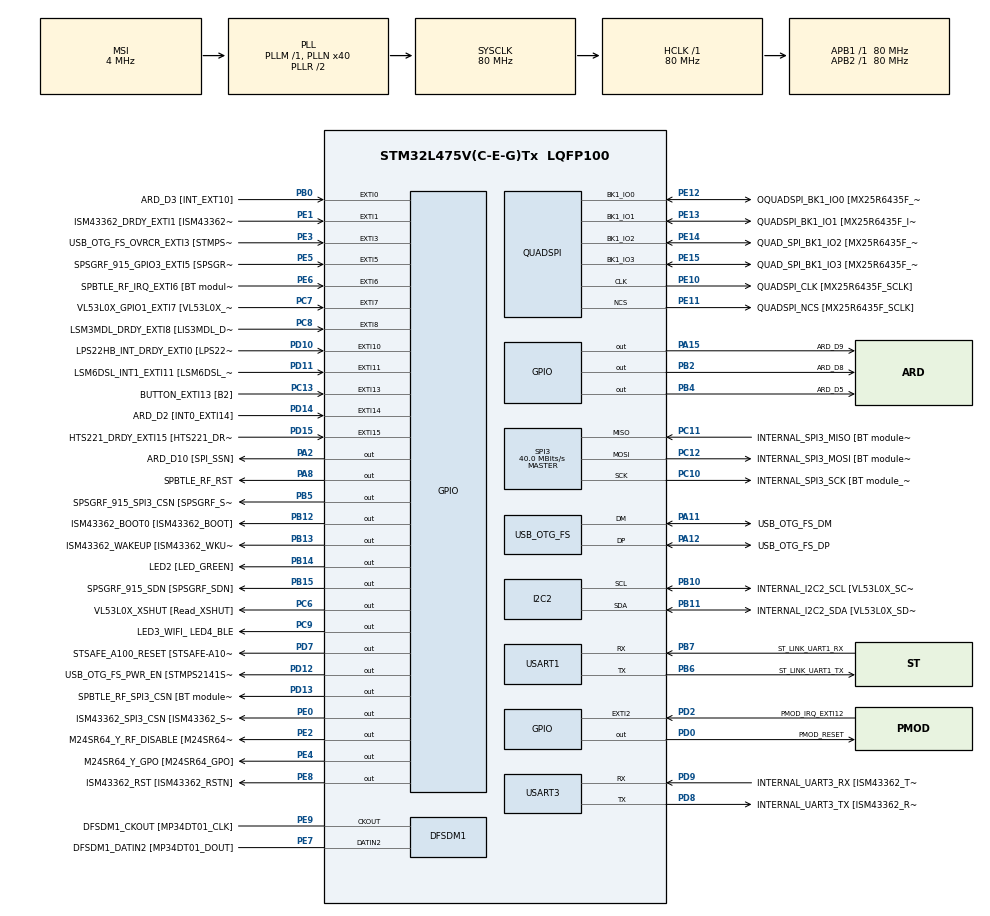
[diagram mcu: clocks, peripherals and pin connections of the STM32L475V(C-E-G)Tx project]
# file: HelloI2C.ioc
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I2C2.Timing=0x10909CEC
Mcu.Family=STM32L4
Mcu.Name=STM32L475V(C-E-G)Tx
Mcu.Package=LQFP100
NVIC.EXTI15_10_IRQn=true\:0\:0\:false\:false\:true\:true\:true\:true
NVIC.EXTI9_5_IRQn=true\:0\:0\:false\:false\:true\:true\:true\:true
NVIC.PriorityGroup=NVIC_PRIORITYGROUP_4
PA0.GPIO_Label=ARD_D1 [UART4_TX]
PA0.Signal=UART4_TX
PA1.GPIO_Label=ARD_D0 [UART4_RX]
PA1.Signal=UART4_RX
PA10.GPIO_Label=USB_OTG_FS_ID
PA10.Signal=USB_OTG_FS_ID
PA11.GPIO_Label=USB_OTG_FS_DM
PA11.Mode=Device_Only
PA11.Signal=USB_OTG_FS_DM
PA12.GPIO_Label=USB_OTG_FS_DP
PA12.Mode=Device_Only
PA12.Signal=USB_OTG_FS_DP
PA13\ (JTMS-SWDIO).GPIO_Label=SYS_JTMS_SWDIO
PA13\ (JTMS-SWDIO).Mode=Serial_Wire
PA13\ (JTMS-SWDIO).Signal=SYS_JTMS-SWDIO
PA14\ (JTCK-SWCLK).GPIO_Label=SYS_JTCK_SWCLK
PA14\ (JTCK-SWCLK).Mode=Serial_Wire
PA14\ (JTCK-SWCLK).Signal=SYS_JTCK-SWCLK
PA15\ (JTDI).GPIO_Label=ARD_D9
PA15\ (JTDI).Signal=GPIO_Output
PA2.GPIO_Label=ARD_D10 [SPI_SSN]
PA2.Signal=GPIO_Output
PA3.GPIO_Label=ARD_D4
PA3.Signal=S_TIM2_CH4
PA4.GPIO_Label=ARD_D7
PA4.Signal=ADCx_IN9
PA5.GPIO_Label=ARD_D13 [SPI1_SCK]
PA5.Signal=SPI1_SCK
PA6.GPIO_Label=ARD_D12 [SPI1_MISO]
PA6.Signal=SPI1_MISO
PA7.GPIO_Label=ARD_D11 [SPI1_MOSI]
PA7.Signal=SPI1_MOSI
PA8.GPIO_Label=SPBTLE_RF_RST
PA8.Signal=GPIO_Output
PA9.GPIO_Label=USB_OTG_FS_VBUS [STMPS2141STR_OUT]
PA9.Signal=USB_OTG_FS_VBUS
PB0.GPIO_Label=ARD_D3 [INT_EXT10]
PB0.Signal=GPXTI0
PB1.GPIO_Label=ARD_D6 [ADC1_IN6]
PB1.Signal=ADCx_IN16
PB10.GPIO_Label=INTERNAL_I2C2_SCL [VL53L0X_SCL]
PB10.GPIO_Pu=GPIO_PULLUP
PB10.Mode=I2C
PB10.Signal=I2C2_SCL
PB11.GPIO_Label=INTERNAL_I2C2_SDA [VL53L0X_SDA]
PB11.GPIO_Pu=GPIO_PULLUP
PB11.Mode=I2C
PB11.Signal=I2C2_SDA
PB12.GPIO_Label=ISM43362_BOOT0 [ISM43362_BOOT]
PB12.Signal=GPIO_Output
PB13.GPIO_Label=ISM43362_WAKEUP [ISM43362_WKUP]
PB13.Signal=GPIO_Output
PB14.GPIO_Label=LED2 [LED_GREEN]
PB14.Signal=GPIO_Output
PB15.GPIO_Label=SPSGRF_915_SDN [SPSGRF_SDN]
PB15.Signal=GPIO_Output
PB2.GPIO_Label=ARD_D8
PB2.Signal=GPIO_Output
PB3\ (JTDO-TRACESWO).GPIO_Label=SYS_JTD0_SWO
PB3\ (JTDO-TRACESWO).Signal=SYS_JTDO-SWO
PB4\ (NJTRST).GPIO_Label=ARD_D5
PB4\ (NJTRST).Signal=GPIO_Output
PB5.GPIO_Label=SPSGRF_915_SPI3_CSN [SPSGRF_SPI_CS]
PB5.PinState=GPIO_PIN_SET
PB5.Signal=GPIO_Output
PB6.GPIO_Label=ST_LINK_UART1_TX
PB6.Mode=Asynchronous
PB6.Signal=USART1_TX
PB7.GPIO_Label=ST_LINK_UART1_RX
PB7.Mode=Asynchronous
PB7.Signal=USART1_RX
PB8.GPIO_Label=ARD_D15 [I2C1_SCL]
PB8.Signal=I2C1_SCL
PB9.GPIO_Label=ARD_D14 [I2C1_SDA]
PB9.Signal=I2C1_SDA
PC0.GPIO_Label=ARD_A5 [ADC]
PC0.Signal=ADCx_IN1
PC1.GPIO_Label=ARD_A4 [ADC]
PC1.Signal=ADCx_IN2
PC10.GPIO_Label=INTERNAL_SPI3_SCK [BT module_SPI_SCLK] [ISM43362_SCK]
PC10.Mode=Full_Duplex_Master
PC10.Signal=SPI3_SCK
PC11.GPIO_Label=INTERNAL_SPI3_MISO [BT module_SPI_MISO] [ISM43362_MISO]
PC11.Mode=Full_Duplex_Master
PC11.Signal=SPI3_MISO
PC12.GPIO_Label=INTERNAL_SPI3_MOSI [BT module_SPI_MOSI] [ISM43362_MOSI]
PC12.Mode=Full_Duplex_Master
PC12.Signal=SPI3_MOSI
PC13.GPIO_Label=BUTTON_EXTI13 [B2]
PC13.GPIO_ModeDefaultEXTI=GPIO_MODE_IT_FALLING
PC13.Signal=GPXTI13
PC14-OSC32_IN\ (PC14).Mode=LSE-External-Oscillator
PC14-OSC32_IN\ (PC14).Signal=RCC_OSC32_IN
PC15-OSC32_OUT\ (PC15).Mode=LSE-External-Oscillator
PC15-OSC32_OUT\ (PC15).Signal=RCC_OSC32_OUT
PC2.GPIO_Label=ARD_A3 [ADC]
PC2.Signal=ADCx_IN3
PC3.GPIO_Label=ARD_A2 [ADC]
PC3.Signal=ADCx_IN4
PC4.GPIO_Label=ARD_A1 [ADC]
PC4.Signal=ADCx_IN13
PC5.GPIO_Label=ARD_A0 [ADC]
PC5.Signal=ADCx_IN14
PC6.GPIO_Label=VL53L0X_XSHUT [Read_XSHUT]
PC6.Signal=GPIO_Output
PC7.GPIO_Label=VL53L0X_GPIO1_EXTI7 [VL53L0X_GPIO1]
PC7.Signal=GPXTI7
PC8.GPIO_Label=LSM3MDL_DRDY_EXTI8 [LIS3MDL_DRDY]
PC8.Signal=GPXTI8
PC9.GPIO_Label=LED3_WIFI_ LED4_BLE
PC9.Signal=GPIO_Output
PD0.GPIO_Label=PMOD_RESET
PD0.Signal=GPIO_Output
PD1.GPIO_Label=PMOD_SPI2_SCK
PD1.Signal=SPI2_SCK
PD10.GPIO_Label=LPS22HB_INT_DRDY_EXTI0 [LPS22HB_INT_DRDY] 
PD10.Signal=GPXTI10
PD11.GPIO_Label=LSM6DSL_INT1_EXTI11 [LSM6DSL_INT1]
PD11.Signal=GPXTI11
PD12.GPIO_Label=USB_OTG_FS_PWR_EN [STMPS2141STR_EN]
PD12.Signal=GPIO_Output
PD13.GPIO_Label=SPBTLE_RF_SPI3_CSN [BT module_SPI_CS]
PD13.PinState=GPIO_PIN_SET
PD13.Signal=GPIO_Output
PD14.GPIO_Label=ARD_D2 [INT0_EXTI14]
PD14.Signal=GPXTI14
PD15.GPIO_Label=HTS221_DRDY_EXTI15 [HTS221_DRDY]
PD15.Signal=GPXTI15
PD2.GPIO_Label=PMOD_IRQ_EXTI12
PD2.Signal=GPXTI2
PD3.GPIO_Label=PMOD_UART2_CTS
PD3.Signal=USART2_CTS
PD4.GPIO_Label=PMOD_UART2_RTS
PD4.Signal=USART2_RTS
PD5.GPIO_Label=PMOD_UART2_TX
PD5.Signal=USART2_TX
PD6.GPIO_Label=PMOD_UART2_RX
PD6.Signal=USART2_RX
PD7.GPIO_Label=STSAFE_A100_RESET [STSAFE-A100_RESET]
PD7.Signal=GPIO_Output
PD8.GPIO_Label=INTERNAL_UART3_TX [ISM43362_RX]
PD8.Mode=Asynchronous
PD8.Signal=USART3_TX
PD9.GPIO_Label=INTERNAL_UART3_RX [ISM43362_TX]
PD9.Mode=Asynchronous
PD9.Signal=USART3_RX
PE0.GPIO_Label=ISM43362_SPI3_CSN [ISM43362_SSN]
PE0.PinState=GPIO_PIN_SET
PE0.Signal=GPIO_Output
PE1.GPIO_Label=ISM43362_DRDY_EXTI1 [ISM43362_DATARDY]
PE1.Signal=GPXTI1
PE10.GPIO_Label=QUADSPI_CLK [MX25R6435F_SCLK]
PE10.Mode=Single Bank
PE10.Signal=QUADSPI_CLK
PE11.GPIO_Label=QUADSPI_NCS [MX25R6435F_SCLK]
PE11.Mode=Single Bank
PE11.Signal=QUADSPI_NCS
PE12.GPIO_Label=OQUADSPI_BK1_IO0 [MX25R6435F_IO0]
PE12.Mode=Single Bank
PE12.Signal=QUADSPI_BK1_IO0
PE13.GPIO_Label=QUADSPI_BK1_IO1 [MX25R6435F_IO1]
PE13.Mode=Single Bank
PE13.Signal=QUADSPI_BK1_IO1
PE14.GPIO_Label=QUAD_SPI_BK1_IO2 [MX25R6435F_IO2]
PE14.Mode=Single Bank
PE14.Signal=QUADSPI_BK1_IO2
PE15.GPIO_Label=QUAD_SPI_BK1_IO3 [MX25R6435F_IO3]
PE15.Mode=Single Bank
PE15.Signal=QUADSPI_BK1_IO3
PE2.GPIO_Label=M24SR64_Y_RF_DISABLE [M24SR64_RFDIS]
PE2.Signal=GPIO_Output
PE3.GPIO_Label=USB_OTG_FS_OVRCR_EXTI3 [STMPS2141STR_FAULT]
PE3.Signal=GPXTI3
PE4.GPIO_Label=M24SR64_Y_GPO [M24SR64_GPO]
PE4.Signal=GPIO_Output
PE5.GPIO_Label=SPSGRF_915_GPIO3_EXTI5 [SPSGRF_GPIO_3]
PE5.Signal=GPXTI5
PE6.GPIO_Label=SPBTLE_RF_IRQ_EXTI6 [BT module_SPI_IRQ]
PE6.Signal=GPXTI6
PE7.GPIO_Label=DFSDM1_DATIN2 [MP34DT01_DOUT]
PE7.Signal=S_DATAIN2DFSDM1
PE8.GPIO_Label=ISM43362_RST [ISM43362_RSTN]
PE8.Signal=GPIO_Output
PE9.GPIO_Label=DFSDM1_CKOUT [MP34DT01_CLK]
PE9.Signal=S_CKOUTDFSDM1
ProjectManager.HeapSize=0x200
ProjectManager.StackSize=0x400
ProjectManager.TargetToolchain=STM32CubeIDE
QUADSPI.ClockPrescaler=2
QUADSPI.FifoThreshold=4
QUADSPI.FlashSize=23
QUADSPI.SampleShifting=QSPI_SAMPLE_SHIFTING_HALFCYCLE
RCC.ADCFreq_Value=48000000
RCC.AHBFreq_Value=80000000
RCC.APB1Freq_Value=80000000
RCC.APB1TimFreq_Value=80000000
RCC.APB2Freq_Value=80000000
RCC.APB2TimFreq_Value=80000000
RCC.CortexFreq_Value=80000000
RCC.HCLKFreq_Value=80000000
RCC.HSE_VALUE=8000000
RCC.HSI_VALUE=16000000
RCC.MSI_VALUE=4000000
RCC.PLLN=40
RCC.PLLSAI1N=24
RCC.SYSCLKFreq_VALUE=80000000
RCC.SYSCLKSource=RCC_SYSCLKSOURCE_PLLCLK
RCC.USBFreq_Value=48000000
RCC.VCOOutputFreq_Value=160000000
SH.ADCx_IN1.0=ADC1_IN1
SH.ADCx_IN13.0=ADC1_IN13
SH.ADCx_IN14.0=ADC1_IN14
SH.ADCx_IN16.0=ADC1_IN16
SH.ADCx_IN2.0=ADC1_IN2
SH.ADCx_IN3.0=ADC1_IN3
SH.ADCx_IN4.0=ADC1_IN4
SH.ADCx_IN9.0=ADC1_IN9
SH.S_CKOUTDFSDM1.0=DFSDM1_CKOUT,CKOUT
SH.S_CKOUTDFSDM1.1=DFSDM1_CKOUT,PDM_SPI_Input_from_ch12_and_Internal_Clock
SH.S_DATAIN2DFSDM1.0=DFSDM1_DATIN2,PDM_SPI_Input_from_ch12_and_Internal_Clock
SH.S_TIM2_CH4.0=TIM2_CH4
SPI3.CalculateBaudRate=40.0 MBits/s
SPI3.Direction=SPI_DIRECTION_2LINES
SPI3.Mode=SPI_MODE_MASTER
SPI3.VirtualType=VM_MASTER
USART1.VirtualMode-Asynchronous=VM_ASYNC
USART3.VirtualMode-Asynchronous=VM_ASYNC
USB_OTG_FS.VirtualMode=Device_Only
board=B-L475E-IOT01A1

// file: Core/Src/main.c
/* USER CODE BEGIN Header */
/**
  ******************************************************************************
  * @file           : main.c
  * @brief          : Main program body
  ******************************************************************************
  * @attention
  *
  * Copyright (c) 2023 STMicroelectronics.
  * All rights reserved.
  *
  * This software is licensed under terms that can be found in the LICENSE file
  * in the root directory of this software component.
  * If no LICENSE file comes with this software, it is provided AS-IS.
  *
  ******************************************************************************
  */
/* USER CODE END Header */
#include "main.h"

/* USER CODE BEGIN Includes */
#include "stm32l475e_iot01_hsensor.h"
#include "stm32l475e_iot01_tsensor.h"
#include "lis3mdl.h"
#include "magneto.h"
#include "stm32l4xx_hal_i2c.h"
/* USER CODE END Includes */

DFSDM_Channel_HandleTypeDef hdfsdm1_channel1;

I2C_HandleTypeDef hi2c2;

QSPI_HandleTypeDef hqspi;

SPI_HandleTypeDef hspi3;

UART_HandleTypeDef huart1;
UART_HandleTypeDef huart3;

PCD_HandleTypeDef hpcd_USB_OTG_FS;

/* USER CODE BEGIN PV */
int __io_putchar(int ch) {
	HAL_UART_Transmit(&huart1, (uint8_t *)&ch, 1, 1000);
	return 1;
}

/* USER CODE END PV */

void SystemClock_Config(void);
static void MX_GPIO_Init(void);
static void MX_DFSDM1_Init(void);
static void MX_I2C2_Init(void);
static void MX_QUADSPI_Init(void);
static void MX_SPI3_Init(void);
static void MX_USART1_UART_Init(void);
static void MX_USART3_UART_Init(void);
static void MX_USB_OTG_FS_PCD_Init(void);

int main(void)
{

  /* MCU Configuration--------------------------------------------------------*/

  /* Reset of all peripherals, Initializes the Flash interface and the Systick. */
  HAL_Init();

  /* Configure the system clock */
  SystemClock_Config();

  /* Initialize all configured peripherals */
  MX_GPIO_Init();
  MX_DFSDM1_Init();
  MX_I2C2_Init();
  MX_QUADSPI_Init();
  MX_SPI3_Init();
  MX_USART1_UART_Init();
  MX_USART3_UART_Init();
  MX_USB_OTG_FS_PCD_Init();
  /* USER CODE BEGIN 2 */

  //1. initialize the magnetometer
  MAGNETO_DrvTypeDef  *MagnetoDrv;
  MAGNETO_InitTypeDef LIS3MDL_InitStructureMag;
  if(Lis3mdlMagDrv.ReadID() != I_AM_LIS3MDL)
  {
	//my way of throwing an "error"
    return -1;
  }
  else
  {
    /* Initialize the MAGNETO magnetometer driver structure */
    MagnetoDrv = &Lis3mdlMagDrv;

    /* MEMS configuration ------------------------------------------------------*/
    /* Fill the MAGNETO magnetometer structure */
    LIS3MDL_InitStructureMag.Register1 = LIS3MDL_MAG_TEMPSENSOR_DISABLE | LIS3MDL_MAG_OM_XY_HIGH | LIS3MDL_MAG_ODR_40_HZ;
    LIS3MDL_InitStructureMag.Register2 = LIS3MDL_MAG_FS_4_GA | LIS3MDL_MAG_REBOOT_DEFAULT | LIS3MDL_MAG_SOFT_RESET_DEFAULT;
    LIS3MDL_InitStructureMag.Register3 = LIS3MDL_MAG_CONFIG_NORMAL_MODE | LIS3MDL_MAG_CONTINUOUS_MODE;
    LIS3MDL_InitStructureMag.Register4 = LIS3MDL_MAG_OM_Z_HIGH | LIS3MDL_MAG_BLE_LSB;
    LIS3MDL_InitStructureMag.Register5 = LIS3MDL_MAG_BDU_MSBLSB;
    /* Configure the MAGNETO magnetometer main parameters */
    MagnetoDrv->Init(LIS3MDL_InitStructureMag);
  }

  /* USER CODE END 2 */

  /* Infinite loop */
  /* USER CODE BEGIN WHILE */
  while (1)
  {
	  //2. Read magnetometer data
	  //final data to be stored here
	  int16_t pData[3];

	  //vars and array to hold data relevant to mag calculations
	  int16_t pnRawData[3];
	  uint8_t ctrlm= 0;
	  uint8_t buffer[6];
	  uint8_t i = 0;
	  float sensitivity = 0;

	  //read the control register content directly
	  uint8_t read_value = 0;
	  HAL_StatusTypeDef status = HAL_I2C_Mem_Read(
			  &hi2c2,
			  LIS3MDL_MAG_I2C_ADDRESS_HIGH,
			  (uint16_t)LIS3MDL_MAG_CTRL_REG2,
			  //size of internal mem address aka 8 bits
			  I2C_MEMADD_SIZE_8BIT,
			  //the "buffer"
			  (uint8_t*)&read_value,
			  //reading only one bit of value from Control Register
			  1, 1000);
	  if (status != HAL_OK) {
		  return -1;
	  }

	  ctrlm = read_value;

	  //read output reg XYZ acceleration
	  status = HAL_I2C_Mem_Read(&hi2c2,
			  LIS3MDL_MAG_I2C_ADDRESS_HIGH,
			  //set MSB 8th bit to 1 to indicate subsequent reading about to happen
			  (uint16_t)(LIS3MDL_MAG_OUTX_L | 0x80),
			  I2C_MEMADD_SIZE_8BIT,
			  buffer,
			  6, 1000);
	 if (status != HAL_OK) {
		 return -1;
	 }
	 //buffer shall be changed by this point
	  for(i=0; i<3; i++)
	  {
	    pnRawData[i]=((((uint16_t)buffer[2*i+1]) << 8) + (uint16_t)buffer[2*i]);
	  }

	  /* Normal mode */
	  /* Switch the sensitivity value set in the CRTL_REG2 */
	  switch(ctrlm & 0x60)
	  {
	  case LIS3MDL_MAG_FS_4_GA:
	    sensitivity = LIS3MDL_MAG_SENSITIVITY_FOR_FS_4GA;
	    break;
	  case LIS3MDL_MAG_FS_8_GA:
	    sensitivity = LIS3MDL_MAG_SENSITIVITY_FOR_FS_8GA;
	    break;
	  case LIS3MDL_MAG_FS_12_GA:
	    sensitivity = LIS3MDL_MAG_SENSITIVITY_FOR_FS_12GA;
	    break;
	  case LIS3MDL_MAG_FS_16_GA:
	    sensitivity = LIS3MDL_MAG_SENSITIVITY_FOR_FS_16GA;
	    break;
	  }

	  /* Obtain the mGauss value for the three axis */
	  for(i=0; i<3; i++)
	  {
	    pData[i]=( int16_t )(pnRawData[i] * sensitivity);
	  }

	  //3. now print the result using printf
	  printf("X: %d, Y: %d, Z: %d\n", pData[0], pData[1], pData[2]);

	  HAL_Delay(1000);
    /* USER CODE END WHILE */

  }
}

void SystemClock_Config(void)
{
  RCC_OscInitTypeDef RCC_OscInitStruct = {0};
  RCC_ClkInitTypeDef RCC_ClkInitStruct = {0};

  /** Configure the main internal regulator output voltage
  */
  if (HAL_PWREx_ControlVoltageScaling(PWR_REGULATOR_VOLTAGE_SCALE1) != HAL_OK)
  {
    Error_Handler();
  }

  /** Configure LSE Drive Capability
  */
  HAL_PWR_EnableBkUpAccess();
  __HAL_RCC_LSEDRIVE_CONFIG(RCC_LSEDRIVE_LOW);

  /** Initializes the RCC Oscillators according to the specified parameters
  * in the RCC_OscInitTypeDef structure.
  */
  RCC_OscInitStruct.OscillatorType = RCC_OSCILLATORTYPE_LSE|RCC_OSCILLATORTYPE_MSI;
  RCC_OscInitStruct.LSEState = RCC_LSE_ON;
  RCC_OscInitStruct.MSIState = RCC_MSI_ON;
  RCC_OscInitStruct.MSICalibrationValue = 0;
  RCC_OscInitStruct.MSIClockRange = RCC_MSIRANGE_6;
  RCC_OscInitStruct.PLL.PLLState = RCC_PLL_ON;
  RCC_OscInitStruct.PLL.PLLSource = RCC_PLLSOURCE_MSI;
  RCC_OscInitStruct.PLL.PLLM = 1;
  RCC_OscInitStruct.PLL.PLLN = 40;
  RCC_OscInitStruct.PLL.PLLP = RCC_PLLP_DIV7;
  RCC_OscInitStruct.PLL.PLLQ = RCC_PLLQ_DIV2;
  RCC_OscInitStruct.PLL.PLLR = RCC_PLLR_DIV2;
  if (HAL_RCC_OscConfig(&RCC_OscInitStruct) != HAL_OK)
  {
    Error_Handler();
  }

  /** Initializes the CPU, AHB and APB buses clocks
  */
  RCC_ClkInitStruct.ClockType = RCC_CLOCKTYPE_HCLK|RCC_CLOCKTYPE_SYSCLK
                              |RCC_CLOCKTYPE_PCLK1|RCC_CLOCKTYPE_PCLK2;
  RCC_ClkInitStruct.SYSCLKSource = RCC_SYSCLKSOURCE_PLLCLK;
  RCC_ClkInitStruct.AHBCLKDivider = RCC_SYSCLK_DIV1;
  RCC_ClkInitStruct.APB1CLKDivider = RCC_HCLK_DIV1;
  RCC_ClkInitStruct.APB2CLKDivider = RCC_HCLK_DIV1;

  if (HAL_RCC_ClockConfig(&RCC_ClkInitStruct, FLASH_LATENCY_4) != HAL_OK)
  {
    Error_Handler();
  }

  /** Enable MSI Auto calibration
  */
  HAL_RCCEx_EnableMSIPLLMode();
}

static void MX_DFSDM1_Init(void)
{

  hdfsdm1_channel1.Instance = DFSDM1_Channel1;
  hdfsdm1_channel1.Init.OutputClock.Activation = ENABLE;
  hdfsdm1_channel1.Init.OutputClock.Selection = DFSDM_CHANNEL_OUTPUT_CLOCK_SYSTEM;
  hdfsdm1_channel1.Init.OutputClock.Divider = 2;
  hdfsdm1_channel1.Init.Input.Multiplexer = DFSDM_CHANNEL_EXTERNAL_INPUTS;
  hdfsdm1_channel1.Init.Input.DataPacking = DFSDM_CHANNEL_STANDARD_MODE;
  hdfsdm1_channel1.Init.Input.Pins = DFSDM_CHANNEL_FOLLOWING_CHANNEL_PINS;
  hdfsdm1_channel1.Init.SerialInterface.Type = DFSDM_CHANNEL_SPI_RISING;
  hdfsdm1_channel1.Init.SerialInterface.SpiClock = DFSDM_CHANNEL_SPI_CLOCK_INTERNAL;
  hdfsdm1_channel1.Init.Awd.FilterOrder = DFSDM_CHANNEL_FASTSINC_ORDER;
  hdfsdm1_channel1.Init.Awd.Oversampling = 1;
  hdfsdm1_channel1.Init.Offset = 0;
  hdfsdm1_channel1.Init.RightBitShift = 0x00;
  if (HAL_DFSDM_ChannelInit(&hdfsdm1_channel1) != HAL_OK)
  {
    Error_Handler();
  }

}

static void MX_I2C2_Init(void)
{

  hi2c2.Instance = I2C2;
  hi2c2.Init.Timing = 0x10909CEC;
  hi2c2.Init.OwnAddress1 = 0;
  hi2c2.Init.AddressingMode = I2C_ADDRESSINGMODE_7BIT;
  hi2c2.Init.DualAddressMode = I2C_DUALADDRESS_DISABLE;
  hi2c2.Init.OwnAddress2 = 0;
  hi2c2.Init.OwnAddress2Masks = I2C_OA2_NOMASK;
  hi2c2.Init.GeneralCallMode = I2C_GENERALCALL_DISABLE;
  hi2c2.Init.NoStretchMode = I2C_NOSTRETCH_DISABLE;
  if (HAL_I2C_Init(&hi2c2) != HAL_OK)
  {
    Error_Handler();
  }

  /** Configure Analogue filter
  */
  if (HAL_I2CEx_ConfigAnalogFilter(&hi2c2, I2C_ANALOGFILTER_ENABLE) != HAL_OK)
  {
    Error_Handler();
  }

  /** Configure Digital filter
  */
  if (HAL_I2CEx_ConfigDigitalFilter(&hi2c2, 0) != HAL_OK)
  {
    Error_Handler();
  }

}

static void MX_QUADSPI_Init(void)
{

  /* QUADSPI parameter configuration*/
  hqspi.Instance = QUADSPI;
  hqspi.Init.ClockPrescaler = 2;
  hqspi.Init.FifoThreshold = 4;
  hqspi.Init.SampleShifting = QSPI_SAMPLE_SHIFTING_HALFCYCLE;
  hqspi.Init.FlashSize = 23;
  hqspi.Init.ChipSelectHighTime = QSPI_CS_HIGH_TIME_1_CYCLE;
  hqspi.Init.ClockMode = QSPI_CLOCK_MODE_0;
  if (HAL_QSPI_Init(&hqspi) != HAL_OK)
  {
    Error_Handler();
  }

}

static void MX_SPI3_Init(void)
{

  /* SPI3 parameter configuration*/
  hspi3.Instance = SPI3;
  hspi3.Init.Mode = SPI_MODE_MASTER;
  hspi3.Init.Direction = SPI_DIRECTION_2LINES;
  hspi3.Init.DataSize = SPI_DATASIZE_4BIT;
  hspi3.Init.CLKPolarity = SPI_POLARITY_LOW;
  hspi3.Init.CLKPhase = SPI_PHASE_1EDGE;
  hspi3.Init.NSS = SPI_NSS_SOFT;
  hspi3.Init.BaudRatePrescaler = SPI_BAUDRATEPRESCALER_2;
  hspi3.Init.FirstBit = SPI_FIRSTBIT_MSB;
  hspi3.Init.TIMode = SPI_TIMODE_DISABLE;
  hspi3.Init.CRCCalculation = SPI_CRCCALCULATION_DISABLE;
  hspi3.Init.CRCPolynomial = 7;
  hspi3.Init.CRCLength = SPI_CRC_LENGTH_DATASIZE;
  hspi3.Init.NSSPMode = SPI_NSS_PULSE_ENABLE;
  if (HAL_SPI_Init(&hspi3) != HAL_OK)
  {
    Error_Handler();
  }

}

static void MX_USART1_UART_Init(void)
{

  huart1.Instance = USART1;
  huart1.Init.BaudRate = 115200;
  huart1.Init.WordLength = UART_WORDLENGTH_8B;
  huart1.Init.StopBits = UART_STOPBITS_1;
  huart1.Init.Parity = UART_PARITY_NONE;
  huart1.Init.Mode = UART_MODE_TX_RX;
  huart1.Init.HwFlowCtl = UART_HWCONTROL_NONE;
  huart1.Init.OverSampling = UART_OVERSAMPLING_16;
  huart1.Init.OneBitSampling = UART_ONE_BIT_SAMPLE_DISABLE;
  huart1.AdvancedInit.AdvFeatureInit = UART_ADVFEATURE_NO_INIT;
  if (HAL_UART_Init(&huart1) != HAL_OK)
  {
    Error_Handler();
  }

}

static void MX_USART3_UART_Init(void)
{

  huart3.Instance = USART3;
  huart3.Init.BaudRate = 115200;
  huart3.Init.WordLength = UART_WORDLENGTH_8B;
  huart3.Init.StopBits = UART_STOPBITS_1;
  huart3.Init.Parity = UART_PARITY_NONE;
  huart3.Init.Mode = UART_MODE_TX_RX;
  huart3.Init.HwFlowCtl = UART_HWCONTROL_NONE;
  huart3.Init.OverSampling = UART_OVERSAMPLING_16;
  huart3.Init.OneBitSampling = UART_ONE_BIT_SAMPLE_DISABLE;
  huart3.AdvancedInit.AdvFeatureInit = UART_ADVFEATURE_NO_INIT;
  if (HAL_UART_Init(&huart3) != HAL_OK)
  {
    Error_Handler();
  }

}

static void MX_USB_OTG_FS_PCD_Init(void)
{

  hpcd_USB_OTG_FS.Instance = USB_OTG_FS;
  hpcd_USB_OTG_FS.Init.dev_endpoints = 6;
  hpcd_USB_OTG_FS.Init.speed = PCD_SPEED_FULL;
  hpcd_USB_OTG_FS.Init.phy_itface = PCD_PHY_EMBEDDED;
  hpcd_USB_OTG_FS.Init.Sof_enable = DISABLE;
  hpcd_USB_OTG_FS.Init.low_power_enable = DISABLE;
  hpcd_USB_OTG_FS.Init.lpm_enable = DISABLE;
  hpcd_USB_OTG_FS.Init.battery_charging_enable = DISABLE;
  hpcd_USB_OTG_FS.Init.use_dedicated_ep1 = DISABLE;
  hpcd_USB_OTG_FS.Init.vbus_sensing_enable = DISABLE;
  if (HAL_PCD_Init(&hpcd_USB_OTG_FS) != HAL_OK)
  {
    Error_Handler();
  }

}

static void MX_GPIO_Init(void)
{
  GPIO_InitTypeDef GPIO_InitStruct = {0};

  /* GPIO Ports Clock Enable */
  __HAL_RCC_GPIOE_CLK_ENABLE();
  __HAL_RCC_GPIOC_CLK_ENABLE();
  __HAL_RCC_GPIOA_CLK_ENABLE();
  __HAL_RCC_GPIOB_CLK_ENABLE();
  __HAL_RCC_GPIOD_CLK_ENABLE();

  /*Configure GPIO pin Output Level */
  HAL_GPIO_WritePin(GPIOE, M24SR64_Y_RF_DISABLE_Pin|M24SR64_Y_GPO_Pin|ISM43362_RST_Pin, GPIO_PIN_RESET);

  /*Configure GPIO pin Output Level */
  HAL_GPIO_WritePin(GPIOA, ARD_D10_Pin|SPBTLE_RF_RST_Pin|ARD_D9_Pin, GPIO_PIN_RESET);

  /*Configure GPIO pin Output Level */
  HAL_GPIO_WritePin(GPIOB, ARD_D8_Pin|ISM43362_BOOT0_Pin|ISM43362_WAKEUP_Pin|LED2_Pin
                          |SPSGRF_915_SDN_Pin|ARD_D5_Pin, GPIO_PIN_RESET);

  /*Configure GPIO pin Output Level */
  HAL_GPIO_WritePin(GPIOD, USB_OTG_FS_PWR_EN_Pin|PMOD_RESET_Pin|STSAFE_A100_RESET_Pin, GPIO_PIN_RESET);

  /*Configure GPIO pin Output Level */
  HAL_GPIO_WritePin(SPBTLE_RF_SPI3_CSN_GPIO_Port, SPBTLE_RF_SPI3_CSN_Pin, GPIO_PIN_SET);

  /*Configure GPIO pin Output Level */
  HAL_GPIO_WritePin(GPIOC, VL53L0X_XSHUT_Pin|LED3_WIFI__LED4_BLE_Pin, GPIO_PIN_RESET);

  /*Configure GPIO pin Output Level */
  HAL_GPIO_WritePin(SPSGRF_915_SPI3_CSN_GPIO_Port, SPSGRF_915_SPI3_CSN_Pin, GPIO_PIN_SET);

  /*Configure GPIO pin Output Level */
  HAL_GPIO_WritePin(ISM43362_SPI3_CSN_GPIO_Port, ISM43362_SPI3_CSN_Pin, GPIO_PIN_SET);

  /*Configure GPIO pins : M24SR64_Y_RF_DISABLE_Pin M24SR64_Y_GPO_Pin ISM43362_RST_Pin ISM43362_SPI3_CSN_Pin */
  GPIO_InitStruct.Pin = M24SR64_Y_RF_DISABLE_Pin|M24SR64_Y_GPO_Pin|ISM43362_RST_Pin|ISM43362_SPI3_CSN_Pin;
  GPIO_InitStruct.Mode = GPIO_MODE_OUTPUT_PP;
  GPIO_InitStruct.Pull = GPIO_NOPULL;
  GPIO_InitStruct.Speed = GPIO_SPEED_FREQ_LOW;
  HAL_GPIO_Init(GPIOE, &GPIO_InitStruct);

  /*Configure GPIO pins : USB_OTG_FS_OVRCR_EXTI3_Pin SPSGRF_915_GPIO3_EXTI5_Pin SPBTLE_RF_IRQ_EXTI6_Pin ISM43362_DRDY_EXTI1_Pin */
  GPIO_InitStruct.Pin = USB_OTG_FS_OVRCR_EXTI3_Pin|SPSGRF_915_GPIO3_EXTI5_Pin|SPBTLE_RF_IRQ_EXTI6_Pin|ISM43362_DRDY_EXTI1_Pin;
  GPIO_InitStruct.Mode = GPIO_MODE_IT_RISING;
  GPIO_InitStruct.Pull = GPIO_NOPULL;
  HAL_GPIO_Init(GPIOE, &GPIO_InitStruct);

  /*Configure GPIO pin : BUTTON_EXTI13_Pin */
  GPIO_InitStruct.Pin = BUTTON_EXTI13_Pin;
  GPIO_InitStruct.Mode = GPIO_MODE_IT_FALLING;
  GPIO_InitStruct.Pull = GPIO_NOPULL;
  HAL_GPIO_Init(BUTTON_EXTI13_GPIO_Port, &GPIO_InitStruct);

  /*Configure GPIO pins : ARD_A5_Pin ARD_A4_Pin ARD_A3_Pin ARD_A2_Pin
                           ARD_A1_Pin ARD_A0_Pin */
  GPIO_InitStruct.Pin = ARD_A5_Pin|ARD_A4_Pin|ARD_A3_Pin|ARD_A2_Pin
                          |ARD_A1_Pin|ARD_A0_Pin;
  GPIO_InitStruct.Mode = GPIO_MODE_ANALOG_ADC_CONTROL;
  GPIO_InitStruct.Pull = GPIO_NOPULL;
  HAL_GPIO_Init(GPIOC, &GPIO_InitStruct);

  /*Configure GPIO pins : ARD_D1_Pin ARD_D0_Pin */
  GPIO_InitStruct.Pin = ARD_D1_Pin|ARD_D0_Pin;
  GPIO_InitStruct.Mode = GPIO_MODE_AF_PP;
  GPIO_InitStruct.Pull = GPIO_NOPULL;
  GPIO_InitStruct.Speed = GPIO_SPEED_FREQ_VERY_HIGH;
  GPIO_InitStruct.Alternate = GPIO_AF8_UART4;
  HAL_GPIO_Init(GPIOA, &GPIO_InitStruct);

  /*Configure GPIO pins : ARD_D10_Pin SPBTLE_RF_RST_Pin ARD_D9_Pin */
  GPIO_InitStruct.Pin = ARD_D10_Pin|SPBTLE_RF_RST_Pin|ARD_D9_Pin;
  GPIO_InitStruct.Mode = GPIO_MODE_OUTPUT_PP;
  GPIO_InitStruct.Pull = GPIO_NOPULL;
  GPIO_InitStruct.Speed = GPIO_SPEED_FREQ_LOW;
  HAL_GPIO_Init(GPIOA, &GPIO_InitStruct);

  /*Configure GPIO pin : ARD_D4_Pin */
  GPIO_InitStruct.Pin = ARD_D4_Pin;
  GPIO_InitStruct.Mode = GPIO_MODE_AF_PP;
  GPIO_InitStruct.Pull = GPIO_NOPULL;
  GPIO_InitStruct.Speed = GPIO_SPEED_FREQ_LOW;
  GPIO_InitStruct.Alternate = GPIO_AF1_TIM2;
  HAL_GPIO_Init(ARD_D4_GPIO_Port, &GPIO_InitStruct);

  /*Configure GPIO pin : ARD_D7_Pin */
  GPIO_InitStruct.Pin = ARD_D7_Pin;
  GPIO_InitStruct.Mode = GPIO_MODE_ANALOG_ADC_CONTROL;
  GPIO_InitStruct.Pull = GPIO_NOPULL;
  HAL_GPIO_Init(ARD_D7_GPIO_Port, &GPIO_InitStruct);

  /*Configure GPIO pins : ARD_D13_Pin ARD_D12_Pin ARD_D11_Pin */
  GPIO_InitStruct.Pin = ARD_D13_Pin|ARD_D12_Pin|ARD_D11_Pin;
  GPIO_InitStruct.Mode = GPIO_MODE_AF_PP;
  GPIO_InitStruct.Pull = GPIO_NOPULL;
  GPIO_InitStruct.Speed = GPIO_SPEED_FREQ_VERY_HIGH;
  GPIO_InitStruct.Alternate = GPIO_AF5_SPI1;
  HAL_GPIO_Init(GPIOA, &GPIO_InitStruct);

  /*Configure GPIO pin : ARD_D3_Pin */
  GPIO_InitStruct.Pin = ARD_D3_Pin;
  GPIO_InitStruct.Mode = GPIO_MODE_IT_RISING;
  GPIO_InitStruct.Pull = GPIO_NOPULL;
  HAL_GPIO_Init(ARD_D3_GPIO_Port, &GPIO_InitStruct);

  /*Configure GPIO pin : ARD_D6_Pin */
  GPIO_InitStruct.Pin = ARD_D6_Pin;
  GPIO_InitStruct.Mode = GPIO_MODE_ANALOG_ADC_CONTROL;
  GPIO_InitStruct.Pull = GPIO_NOPULL;
  HAL_GPIO_Init(ARD_D6_GPIO_Port, &GPIO_InitStruct);

  /*Configure GPIO pins : ARD_D8_Pin ISM43362_BOOT0_Pin ISM43362_WAKEUP_Pin LED2_Pin
                           SPSGRF_915_SDN_Pin ARD_D5_Pin SPSGRF_915_SPI3_CSN_Pin */
  GPIO_InitStruct.Pin = ARD_D8_Pin|ISM43362_BOOT0_Pin|ISM43362_WAKEUP_Pin|LED2_Pin
                          |SPSGRF_915_SDN_Pin|ARD_D5_Pin|SPSGRF_915_SPI3_CSN_Pin;
  GPIO_InitStruct.Mode = GPIO_MODE_OUTPUT_PP;
  GPIO_InitStruct.Pull = GPIO_NOPULL;
  GPIO_InitStruct.Speed = GPIO_SPEED_FREQ_LOW;
  HAL_GPIO_Init(GPIOB, &GPIO_InitStruct);

  /*Configure GPIO pins : LPS22HB_INT_DRDY_EXTI0_Pin LSM6DSL_INT1_EXTI11_Pin ARD_D2_Pin HTS221_DRDY_EXTI15_Pin
                           PMOD_IRQ_EXTI12_Pin */
  GPIO_InitStruct.Pin = LPS22HB_INT_DRDY_EXTI0_Pin|LSM6DSL_INT1_EXTI11_Pin|ARD_D2_Pin|HTS221_DRDY_EXTI15_Pin
                          |PMOD_IRQ_EXTI12_Pin;
  GPIO_InitStruct.Mode = GPIO_MODE_IT_RISING;
  GPIO_InitStruct.Pull = GPIO_NOPULL;
  HAL_GPIO_Init(GPIOD, &GPIO_InitStruct);

  /*Configure GPIO pins : USB_OTG_FS_PWR_EN_Pin SPBTLE_RF_SPI3_CSN_Pin PMOD_RESET_Pin STSAFE_A100_RESET_Pin */
  GPIO_InitStruct.Pin = USB_OTG_FS_PWR_EN_Pin|SPBTLE_RF_SPI3_CSN_Pin|PMOD_RESET_Pin|STSAFE_A100_RESET_Pin;
  GPIO_InitStruct.Mode = GPIO_MODE_OUTPUT_PP;
  GPIO_InitStruct.Pull = GPIO_NOPULL;
  GPIO_InitStruct.Speed = GPIO_SPEED_FREQ_LOW;
  HAL_GPIO_Init(GPIOD, &GPIO_InitStruct);

  /*Configure GPIO pins : VL53L0X_XSHUT_Pin LED3_WIFI__LED4_BLE_Pin */
  GPIO_InitStruct.Pin = VL53L0X_XSHUT_Pin|LED3_WIFI__LED4_BLE_Pin;
  GPIO_InitStruct.Mode = GPIO_MODE_OUTPUT_PP;
  GPIO_InitStruct.Pull = GPIO_NOPULL;
  GPIO_InitStruct.Speed = GPIO_SPEED_FREQ_LOW;
  HAL_GPIO_Init(GPIOC, &GPIO_InitStruct);

  /*Configure GPIO pins : VL53L0X_GPIO1_EXTI7_Pin LSM3MDL_DRDY_EXTI8_Pin */
  GPIO_InitStruct.Pin = VL53L0X_GPIO1_EXTI7_Pin|LSM3MDL_DRDY_EXTI8_Pin;
  GPIO_InitStruct.Mode = GPIO_MODE_IT_RISING;
  GPIO_InitStruct.Pull = GPIO_NOPULL;
  HAL_GPIO_Init(GPIOC, &GPIO_InitStruct);

  /*Configure GPIO pin : PMOD_SPI2_SCK_Pin */
  GPIO_InitStruct.Pin = PMOD_SPI2_SCK_Pin;
  GPIO_InitStruct.Mode = GPIO_MODE_AF_PP;
  GPIO_InitStruct.Pull = GPIO_NOPULL;
  GPIO_InitStruct.Speed = GPIO_SPEED_FREQ_VERY_HIGH;
  GPIO_InitStruct.Alternate = GPIO_AF5_SPI2;
  HAL_GPIO_Init(PMOD_SPI2_SCK_GPIO_Port, &GPIO_InitStruct);

  /*Configure GPIO pins : PMOD_UART2_CTS_Pin PMOD_UART2_RTS_Pin PMOD_UART2_TX_Pin PMOD_UART2_RX_Pin */
  GPIO_InitStruct.Pin = PMOD_UART2_CTS_Pin|PMOD_UART2_RTS_Pin|PMOD_UART2_TX_Pin|PMOD_UART2_RX_Pin;
  GPIO_InitStruct.Mode = GPIO_MODE_AF_PP;
  GPIO_InitStruct.Pull = GPIO_NOPULL;
  GPIO_InitStruct.Speed = GPIO_SPEED_FREQ_VERY_HIGH;
  GPIO_InitStruct.Alternate = GPIO_AF7_USART2;
  HAL_GPIO_Init(GPIOD, &GPIO_InitStruct);

  /*Configure GPIO pins : ARD_D15_Pin ARD_D14_Pin */
  GPIO_InitStruct.Pin = ARD_D15_Pin|ARD_D14_Pin;
  GPIO_InitStruct.Mode = GPIO_MODE_AF_OD;
  GPIO_InitStruct.Pull = GPIO_NOPULL;
  GPIO_InitStruct.Speed = GPIO_SPEED_FREQ_VERY_HIGH;
  GPIO_InitStruct.Alternate = GPIO_AF4_I2C1;
  HAL_GPIO_Init(GPIOB, &GPIO_InitStruct);

  /* EXTI interrupt init*/
  HAL_NVIC_SetPriority(EXTI9_5_IRQn, 0, 0);
  HAL_NVIC_EnableIRQ(EXTI9_5_IRQn);

  HAL_NVIC_SetPriority(EXTI15_10_IRQn, 0, 0);
  HAL_NVIC_EnableIRQ(EXTI15_10_IRQn);

}

void Error_Handler(void)
{
  __disable_irq();
  while (1)
  {
  }
}
